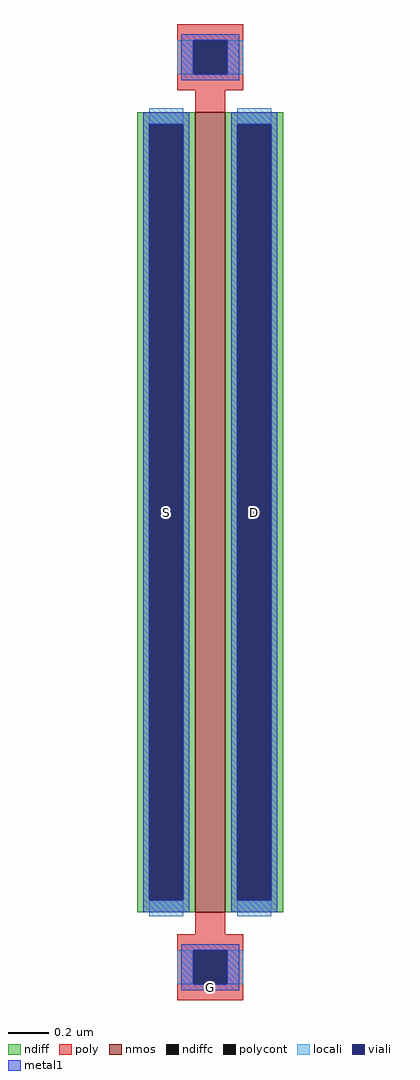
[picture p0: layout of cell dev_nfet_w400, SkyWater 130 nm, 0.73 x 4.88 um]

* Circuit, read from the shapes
.subckt dev_nfet_w400 G S D
XM1 D G S VSUBS sky130_fd_pr__nfet_01v8 w=4 l=0.15
.ends

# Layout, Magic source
magic
tech sky130B
magscale 1 2
<< nmos >>
rect -15 -400 15 400
<< ndiff >>
rect -73 388 -15 400
rect -73 -388 -61 388
rect -27 -388 -15 388
rect -73 -400 -15 -388
rect 15 388 73 400
rect 15 -388 27 388
rect 61 -388 73 388
rect 15 -400 73 -388
<< ndiffc >>
rect -61 -388 -27 388
rect 27 -388 61 388
<< poly >>
rect -33 472 33 488
rect -33 438 -17 472
rect 17 438 33 472
rect -33 422 33 438
rect -15 400 15 422
rect -15 -422 15 -400
rect -33 -438 33 -422
rect -33 -472 -17 -438
rect 17 -472 33 -438
rect -33 -488 33 -472
<< polycont >>
rect -17 438 17 472
rect -17 -472 17 -438
<< locali >>
rect -33 438 -17 472
rect 17 438 33 472
rect -61 388 -27 404
rect -61 -404 -27 -388
rect 27 388 61 404
rect 27 -404 61 -388
rect -33 -472 -17 -438
rect 17 -472 33 -438
<< viali >>
rect -17 438 17 472
rect -61 -388 -27 388
rect 27 -388 61 388
rect -17 -472 17 -438
<< metal1 >>
rect -29 472 29 478
rect -29 438 -17 472
rect 17 438 29 472
rect -29 432 29 438
rect -67 388 -21 400
rect -67 -388 -61 388
rect -27 -388 -21 388
rect -67 -400 -21 -388
rect 21 388 67 400
rect 21 -388 27 388
rect 61 -388 67 388
rect 21 -400 67 -388
rect -29 -438 29 -432
rect -29 -472 -17 -438
rect 17 -472 29 -438
rect -29 -478 29 -472
<< labels >>
flabel metal1 s -29 -478 29 -472 0 FreeSans 16 0 0 0 G
port 0 nsew
flabel metal1 s -67 -400 -21 400 0 FreeSans 16 0 0 0 S
port 1 nsew
flabel metal1 s 21 -400 67 400 0 FreeSans 16 0 0 0 D
port 2 nsew
<< end >>
